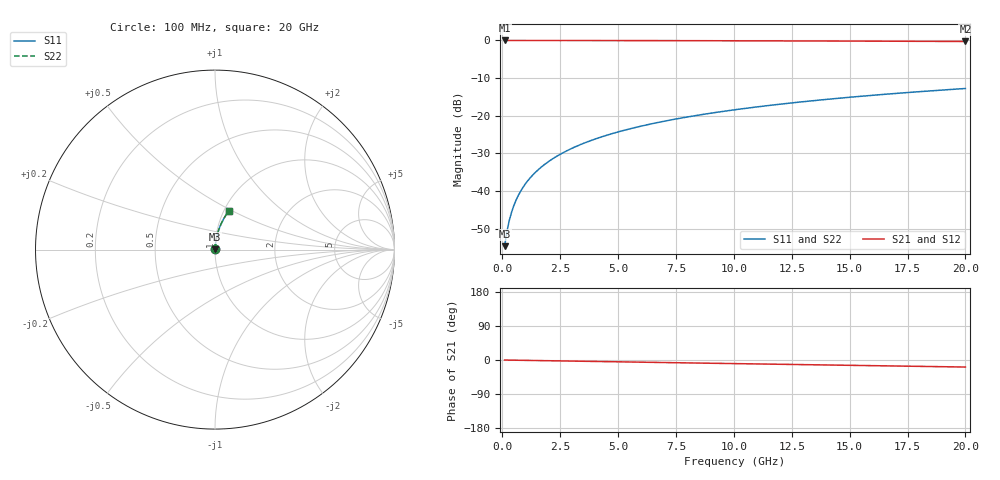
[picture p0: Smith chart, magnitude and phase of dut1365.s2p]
! Touchstone file exported from HFSS 2026.1.0
!  File:  C:/ffzhzh/LocalFiles/Ansys_Project_Files/temp_train_TMRDL_1365_1783165767_18472.aedt
!  Generated:  07:50:40 PM Jul  4, 2026
!  Design:  TMRDL
!  Project:  temp_train_TMRDL_1365_1783165767_18472
! Variables:
!  h_bsmrdl = 2um
!  h_ox = 20um
!  h_rdl = 5um
!  h_sub = 80um
!  h_tmrdl = 4.04um
!  h_tsv = 80um
!  h_via = 3um
!  l_bsmrdl = 300um
!  l_sub = 595.86um
!  l_tmrdl = 195.86um
!  m_sub = 200um
!  pitch = 52.69um
!  r_tsv = 6um
!  s_tmrdl = 10um
!  w_bsmrdl = 18um
!  w_sub = 500um
!  w_tmrdl = 14.38um
!  x_tsv_center1 = 203.05um
!  x_tsv_center2 = 521.05um
!  x_tsv_center3 = 731.29um
!  x_tsv_center4 = 1049.29um
!  x_tsv_center5 = 1259.53um
!  x_tsv_center6 = 1577.53um
# GHz S MA R 50.000000
! Terminal data exported
! Port[1] = TM_RDL1_1_T1
! Port[2] = TM_RDL1_1_T2
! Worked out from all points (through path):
!   200 points, 100 MHz to 20 GHz, reference 50 ohm
!   highest |S21| = -0.01 dB at 100 MHz (marker M1); lowest = -0.3 dB at 20 GHz (marker M2)
!   group delay of S21, straight-line fit = 2.58 ps
!   lowest |S11| = -54.7 dB at 100 MHz (marker M3), VSWR 1.00, Z = 50.1 + j0.128 ohm
!   |S11| at or under -10 dB: start of sweep to end of sweep
!   |S22| runs from -54.7 to -12.8 dB; largest |S21 - S12| = 4e-15
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0.1  0.00185 43.6  0.9987 -0.1  0.9987 -0.1  0.00185 43.6
! Gamma 0 0 0 0
! Port Impedance 50 0 50 0
0.2  0.002884 61.5  0.9986 -0.2  0.9986 -0.2  0.002884 61.5
0.3  0.004036 69.4  0.9986 -0.3  0.9986 -0.3  0.004036 69.4
0.4  0.005218 73.7  0.9986 -0.4  0.9986 -0.4  0.005218 73.7
0.5  0.006412 76.4  0.9985 -0.5  0.9985 -0.5  0.006412 76.4
0.6  0.007613 78.2  0.9985 -0.6  0.9985 -0.6  0.007613 78.2
0.8  0.01003 80.5  0.9984 -0.8  0.9984 -0.8  0.01003 80.5
1.1  0.01367 82.4  0.9983 -1.1  0.9983 -1.1  0.01367 82.4
1.5  0.01854 83.6  0.9982 -1.5  0.9982 -1.5  0.01854 83.6
1.8  0.0222 84.0  0.9981 -1.7  0.9981 -1.7  0.0222 84.0
2.1  0.02585 84.2  0.9979 -2.0  0.9979 -2.0  0.02585 84.2
2.7  0.03315 84.2  0.9976 -2.6  0.9976 -2.6  0.03315 84.2
3.5  0.04284 83.9  0.9971 -3.4  0.9971 -3.4  0.04284 83.9
4.2  0.05128 83.5  0.9965 -4.0  0.9965 -4.0  0.05128 83.5
5  0.06087 82.9  0.9958 -4.8  0.9958 -4.8  0.06087 82.9
5.9  0.07158 82.2  0.9948 -5.7  0.9948 -5.7  0.07158 82.2
6.8  0.08222 81.5  0.9937 -6.5  0.9937 -6.5  0.08222 81.5
8.3  0.09979 80.2  0.9918 -7.9  0.9918 -7.9  0.09979 80.2
10.1  0.1206 78.7  0.989 -9.6  0.989 -9.6  0.1206 78.7
13.4  0.158 75.8  0.9831 -12.6  0.9831 -12.6  0.158 75.8
16.7  0.1944 72.9  0.9761 -15.6  0.9761 -15.6  0.1944 73.0
20  0.2297 70.1  0.9681 -18.6  0.9681 -18.6  0.2297 70.1
